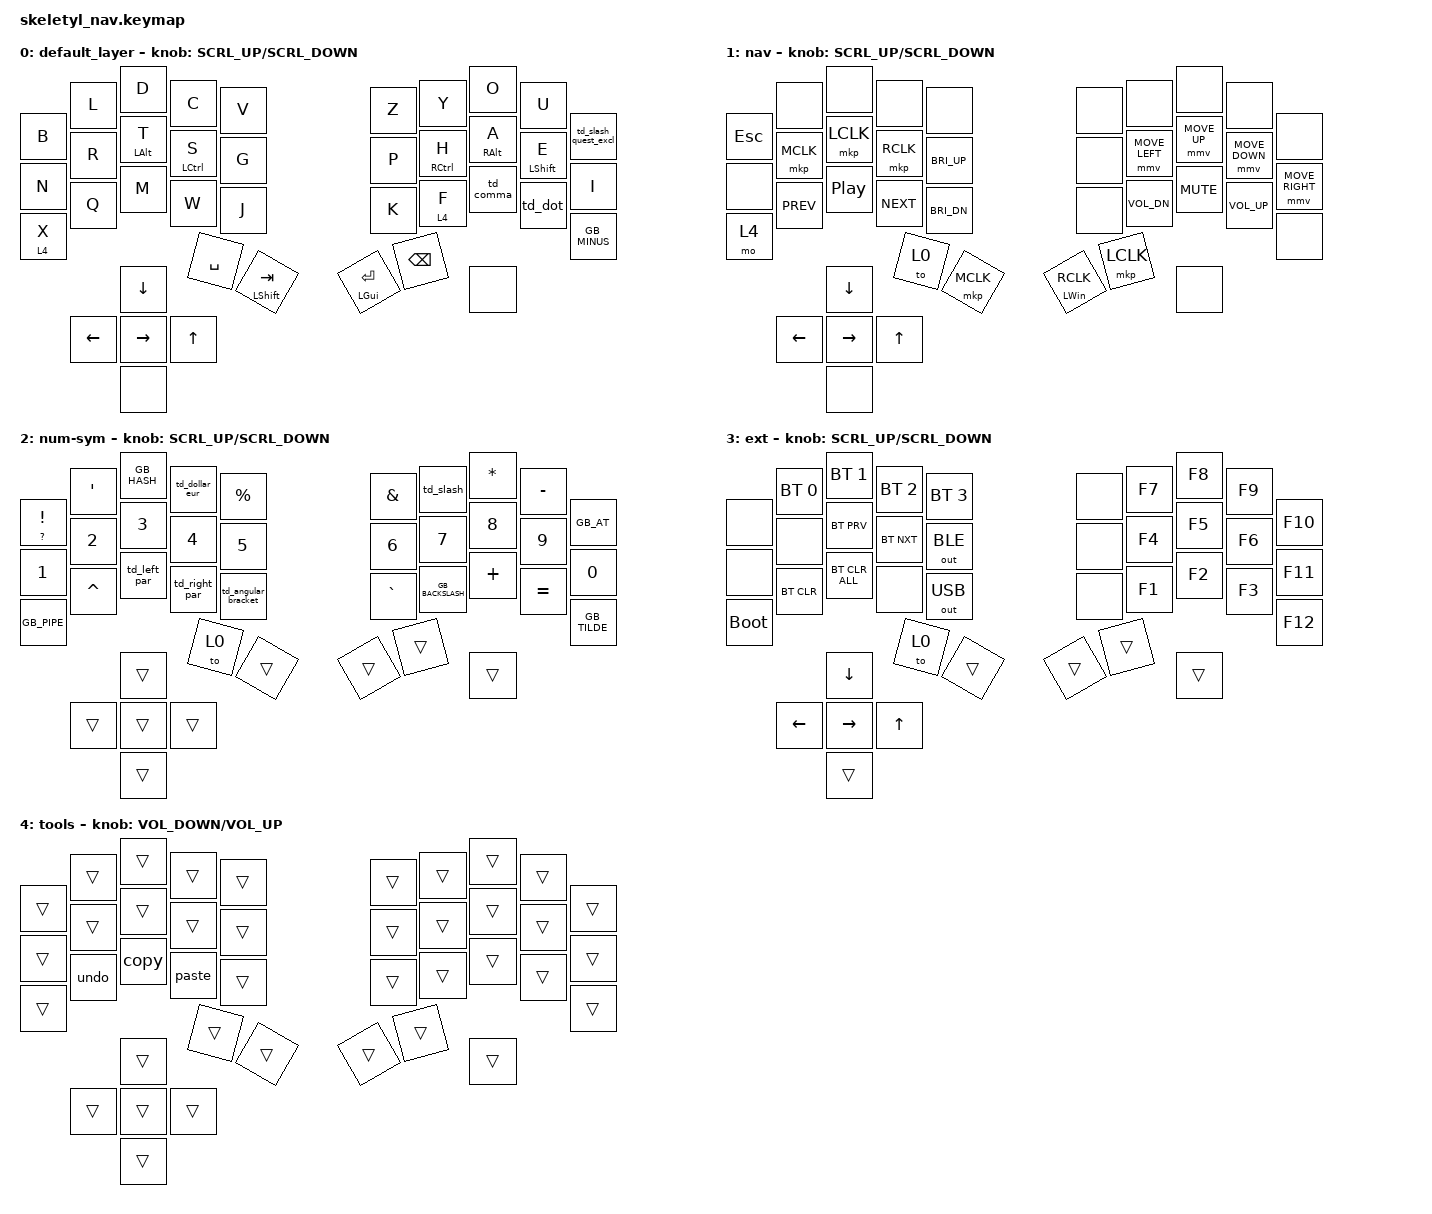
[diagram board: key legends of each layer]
// Define scroll speed BEFORE including pointing.h
// #define ZMK_POINTING_DEFAULT_MOVE_VAL 600

#define ZMK_POINTING_DEFAULT_MOVE_VAL 1100
#define ZMK_POINTING_DEFAULT_SCRL_VAL 2500

// #define ZMK_MOUSE_DEFAULT_SCRL_VAL 300

#include "keys_en_gb_extended.h"
#include <behaviors.dtsi>
#include <dt-bindings/zmk/bt.h>
#include <dt-bindings/zmk/keys.h>
#include <dt-bindings/zmk/outputs.h>
#include <dt-bindings/zmk/pointing.h>

&mt {
    tapping-term-ms = <250>;
    flavor = "tap-preferred";
    quick-tap-ms = <175>;
    require-prior-idle-ms = <150>;
};

/ {
    behaviors {
        td_dot: td_dot {
            compatible = "zmk,behavior-tap-dance";
            label = "TD_DOT";
            #binding-cells = <0>;
            bindings = <&kp GB_DOT>, <&kp COLON>;
        };

        td_comma: td_comma {
            compatible = "zmk,behavior-tap-dance";
            label = "TD_COMMA";
            #binding-cells = <0>;
            bindings = <&kp GB_COMMA>, <&kp SEMI>;
        };

        td_angular_bracket: td_angular_bracket {
            compatible = "zmk,behavior-tap-dance";
            label = "TD_ANGULAR_BRACKET";
            #binding-cells = <0>;
            bindings = <&kp GB_LT>, <&kp GB_GT>;
        };

        td_slash_quest_excl: td_slash_quest_excl {
            compatible = "zmk,behavior-tap-dance";
            label = "TD_SLASH_QUEST_EXCL";
            #binding-cells = <0>;
            bindings = <&kp SLASH>, <&kp GB_EXCL>, <&kp QUESTION>;
        };

        td_left_par: td_left_par {
            compatible = "zmk,behavior-tap-dance";
            label = "TD_LEFT_PAR";
            #binding-cells = <0>;
            bindings =
                <&kp LEFT_PARENTHESIS>,
                <&kp LEFT_BRACKET>,
                <&kp LEFT_BRACE>;
        };

        td_right_par: td_right_par {
            compatible = "zmk,behavior-tap-dance";
            label = "TD_RIGHT_PAR";
            #binding-cells = <0>;
            bindings =
                <&kp RIGHT_PARENTHESIS>,
                <&kp RIGHT_BRACKET>,
                <&kp RIGHT_BRACE>;
        };

        td_slash: td_slash {
            compatible = "zmk,behavior-tap-dance";
            label = "TD_SLASH";
            #binding-cells = <0>;
            bindings = <&kp SLASH>, <&kp GB_BACKSLASH>;
        };

        mouse_scroll: sensor_scroll {
            compatible = "zmk,behavior-sensor-rotate-var";
            #sensor-binding-cells = <2>;
            bindings = <&msc>, <&msc>;

            tap-ms = <20>;
        };

        encoder_scroll: encoder_scroll {
            compatible = "zmk,behavior-sensor-rotate";
            label = "ENCODER_SCROLL";
            #sensor-binding-cells = <0>;
            bindings = <&msc SCRL_UP>, <&msc SCRL_DOWN>;
        };

        morph_left_nav: morph_left_nav {
            compatible = "zmk,behavior-mod-morph";
            label = "MORPH_LEFT_NAV";
            bindings = <&to 1>, <&kp LEFT_ARROW>;

            #binding-cells = <0>;
            mods = <(MOD_LCTL)>;
        };

        morph_right_num: morph_right_num {
            compatible = "zmk,behavior-mod-morph";
            label = "MORPH_RIGHT_NUM";
            bindings = <&to 2>, <&kp RIGHT>;

            #binding-cells = <0>;
            mods = <(MOD_LCTL)>;
        };

        morph_up_ext: morph_up_ext {
            compatible = "zmk,behavior-mod-morph";
            label = "MORPH_UP_EXT";
            bindings = <&kp UP_ARROW>, <&to 3>;

            #binding-cells = <0>;
            mods = <(MOD_LCTL)>;
        };

        td_b_esc: td_b_esc {
            compatible = "zmk,behavior-tap-dance";
            label = "TD_B_ESC";
            #binding-cells = <0>;
            bindings = <&kp B>, <&none>, <&kp ESC>;
        };

        ht_mkp_kp: ht_mkp_kp {
            compatible = "zmk,behavior-hold-tap";
            label = "HT_MKP_KP";
            bindings = <&kp>, <&mkp>;

            #binding-cells = <2>;
            flavor = "tap-preferred";
            tapping-term-ms = <200>;
        };

        td_dollar_eur: td_dollar_eur {
            compatible = "zmk,behavior-tap-dance";
            label = "TD_DOLLAR_EUR";
            #binding-cells = <0>;
            bindings = <&kp DOLLAR>, <&kp GB_EURO>;
        };

        thumb_hrm: thumb_hrm {
            compatible = "zmk,behavior-hold-tap";
            label = "THUMB_HRM";
            bindings = <&kp>, <&kp>;

            #binding-cells = <2>;
            tapping-term-ms = <200>;
            quick-tap-ms = <175>;
            require-prior-idle-ms = <0>;
        };
    };

    combos {
        compatible = "zmk,combos";

        caps_lock {
            bindings = <&kp CAPS>;
            key-positions = <20 29>;
            layers = <0>;
            require-prior-idle-ms = <40>;
        };

        esc {
            bindings = <&kp ESC>;
            key-positions = <0 9>;
            require-prior-idle-ms = <40>;
            layers = <0>;
        };

        to_nav {
            bindings = <&to 1>;
            key-positions = <30 33>;
            layers = <0>;
            require-prior-idle-ms = <100>;
            timeout-ms = <100>;
        };

        to_sym {
            bindings = <&to 2>;
            key-positions = <31 32>;
            layers = <0>;
            require-prior-idle-ms = <100>;
            timeout-ms = <100>;
        };

        to_ext {
            bindings = <&to 3>;
            key-positions = <30 31 32 33>;
            require-prior-idle-ms = <100>;
            layers = <0>;
            timeout-ms = <100>;
        };

        letter_v {
            bindings = <&kp V>;
            key-positions = <3 13>;
            layers = <0>;
        };

        letter_j {
            bindings = <&kp J>;
            key-positions = <23 13>;
            layers = <0>;
        };

        letter_z {
            bindings = <&kp Z>;
            key-positions = <6 16>;
            layers = <0>;
        };

        letter_k {
            bindings = <&kp K>;
            key-positions = <26 16>;
            layers = <0>;
        };
    };

    macros {
        undo: undo {
            compatible = "zmk,behavior-macro";
            #binding-cells = <0>;
            bindings = <&kp LC(Z)>;
            label = "UNDO";
        };

        copy: copy {
            compatible = "zmk,behavior-macro";
            #binding-cells = <0>;
            bindings = <&kp LC(C)>;
            label = "COPY";
        };

        paste: paste {
            compatible = "zmk,behavior-macro";
            #binding-cells = <0>;
            bindings = <&kp LC(V)>;
            label = "PASTE";
        };
    };

    keymap {
        compatible = "zmk,keymap";

        default_layer {
            bindings = <
&kp B           &kp L      &kp D           &kp C           &kp V                      &kp Z                    &kp Y          &kp O            &kp U             &td_slash_quest_excl
&kp N           &kp R      &mt LEFT_ALT T  &mt LCTRL S     &kp G                      &kp P                    &mt RCTRL H    &mt RIGHT_ALT A  &mt LEFT_SHIFT E  &kp I
&lt 4 X         &kp Q      &kp M           &kp W           &kp J                      &kp K                    &lt 4 F        &td_comma        &td_dot           &kp GB_MINUS
                                           &kp SPACE       &thumb_hrm LEFT_SHIFT TAB  &thumb_hrm LEFT_GUI RET  &kp BACKSPACE  &none
&kp DOWN_ARROW  &kp RIGHT  &none           &kp LEFT_ARROW  &kp UP_ARROW
            >;

            sensor-bindings = <&mouse_scroll SCRL_UP SCRL_DOWN>;
        };

        nav {
            bindings = <
&kp ESC         &none       &none             &none       &none         &none                     &none           &none         &none            &none
&none           &mkp MCLK   &mkp LCLK         &mkp RCLK   &kp C_BRI_UP  &none                     &mmv MOVE_LEFT  &mmv MOVE_UP  &mmv MOVE_DOWN   &mmv MOVE_RIGHT
&mo 4           &kp C_PREV  &kp C_PLAY_PAUSE  &kp C_NEXT  &kp C_BRI_DN  &none                     &kp C_VOL_DN    &kp C_MUTE    &kp C_VOLUME_UP  &none
                                              &to 0       &mkp MCLK     &ht_mkp_kp LEFT_WIN RCLK  &mkp LCLK       &none
&kp DOWN_ARROW  &kp RIGHT   &none             &kp LEFT    &kp UP_ARROW
            >;

            sensor-bindings = <&mouse_scroll SCRL_UP SCRL_DOWN>;
        };

        num-sym {
            bindings = <
&mt QUESTION EXCL  &kp APOS      &kp GB_HASH   &td_dollar_eur  &kp PERCENT          &kp AMPS      &td_slash         &kp ASTERISK  &kp MINUS  &kp GB_AT
&kp NUMBER_1       &kp NUMBER_2  &kp NUMBER_3  &kp NUMBER_4    &kp N5               &kp NUMBER_6  &kp N7            &kp N8        &kp N9     &kp N0
&kp GB_PIPE        &kp CARET     &td_left_par  &td_right_par   &td_angular_bracket  &kp GRAVE     &kp GB_BACKSLASH  &kp PLUS      &kp EQUAL  &kp GB_TILDE
                                               &to 0           &trans               &trans        &trans            &trans
&trans             &trans        &trans        &trans          &trans
            >;

            sensor-bindings = <&mouse_scroll SCRL_UP SCRL_DOWN>;
        };

        ext {
            bindings = <
&none           &bt BT_SEL 0  &bt BT_SEL 1    &bt BT_SEL 2    &bt BT_SEL 3  &none   &kp F7  &kp F8  &kp F9  &kp F10
&none           &none         &bt BT_PRV      &bt BT_NXT      &out OUT_BLE  &none   &kp F4  &kp F5  &kp F6  &kp F11
&bootloader     &bt BT_CLR    &bt BT_CLR_ALL  &none           &out OUT_USB  &none   &kp F1  &kp F2  &kp F3  &kp F12
                                              &to 0           &trans        &trans  &trans  &trans
&kp DOWN_ARROW  &kp RIGHT     &trans          &kp LEFT_ARROW  &kp UP_ARROW
            >;

            sensor-bindings = <&mouse_scroll SCRL_UP SCRL_DOWN>;
        };

        tools {
            bindings = <
&trans  &trans  &trans  &trans  &trans  &trans  &trans  &trans  &trans  &trans
&trans  &trans  &trans  &trans  &trans  &trans  &trans  &trans  &trans  &trans
&trans  &undo   &copy   &paste  &trans  &trans  &trans  &trans  &trans  &trans
                        &trans  &trans  &trans  &trans  &trans
&trans  &trans  &trans  &trans  &trans
            >;

            sensor-bindings = <&inc_dec_kp C_VOLUME_DOWN C_VOLUME_UP>;
        };
    };
};
